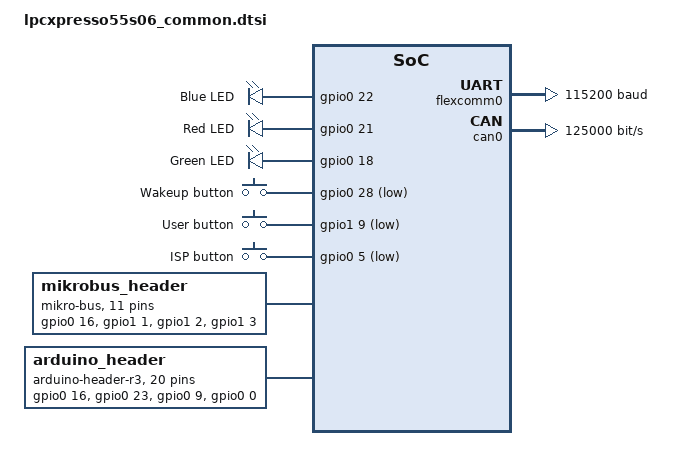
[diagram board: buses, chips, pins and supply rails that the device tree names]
/*
 * Copyright (c) 2022 metraTec
 * Copyright 2022 NXP
 *
 * SPDX-License-Identifier: Apache-2.0
 */

#include "lpcxpresso55s06-pinctrl.dtsi"

/ {
	chosen {
		zephyr,sram = &sram0;
		zephyr,flash = &flash0;
		zephyr,code-partition = &sramx;
		zephyr,console = &flexcomm0;
		zephyr,shell-uart = &flexcomm0;
		zephyr,entropy = &rng;
		zephyr,flash-controller = &iap;
		zephyr,code-partition = &slot0_partition;
		zephyr,canbus = &can0;
	};

	aliases {
		led0 = &blue_led;
		led1 = &red_led;
		led2 = &green_led;
		sw0 = &btn_wk;
		sw1 = &btn_usr;
		sw2 = &btn_isp;
		usart-0 = &flexcomm0;
	};

	leds {
		compatible = "gpio-leds";
		blue_led: led_0 {
			gpios = <&gpio0 22 0>;
			label = "Blue LED";
		};
		red_led: led_1 {
			gpios = <&gpio0 21 0>;
			label = "Red LED";
		};
		green_led: led_2 {
			gpios = <&gpio0 18 0>;
			label = "Green LED";
		};
	};

	gpio_keys {
		compatible = "gpio-keys";
		btn_wk: button_0 {
			label = "Wakeup button";
			gpios = <&gpio0 28 GPIO_ACTIVE_LOW>;
		};
		btn_usr: button_1 {
			label = "User button";
			gpios = <&gpio1 9 GPIO_ACTIVE_LOW>;
		};
		btn_isp: button_2 {
			label = "ISP button";
			gpios = <&gpio0 5 GPIO_ACTIVE_LOW>;
		};
	};

	mikrobus_header: mikrobus-connector {
		compatible = "mikro-bus";
		#gpio-cells = <2>;
		gpio-map-mask = <0xffffffff 0xffffffc0>;
		gpio-map-pass-thru = <0 0x3f>;
		gpio-map =	<0 0 &gpio0 16 0>,	/* AN   */
				/* Not a GPIO */	/* RST  */
				<2 0 &gpio1 1 0>,	/* CS   */
				<3 0 &gpio1 2 0>,	/* SCK  */
				<4 0 &gpio1 3 0>,	/* MISO */
				<5 0 &gpio0 26 0>,	/* MOSI */
							/* +3.3V */
							/* GND  */
				<6 0 &gpio1 5 0>,	/* PWM  */
				<7 0 &gpio0 28 0>,	/* INT  */
				<8 0 &gpio1 10 0>,	/* RX   */
				<9 0 &gpio1 11 0>,	/* TX   */
				<10 0 &gpio0 24 0>,	/* SCL  */
				<11 0 &gpio0 25 0>;	/* SDA  */
							/* +5V  */
							/* GND  */
	};

	arduino_header: arduino-connector {
		compatible = "arduino-header-r3";
		#gpio-cells = <2>;
		gpio-map-mask = <0xffffffff 0xffffffc0>;
		gpio-map-pass-thru = <0 0x3f>;
		gpio-map =	<0 0 &gpio0 16 0>,	/* A0 */
				<1 0 &gpio0 23 0>,	/* A1 */
				<2 0 &gpio0 9 0>,	/* A2 */
				<3 0 &gpio0 0 0>,	/* A3 */
				<4 0 &gpio0 13 0>,	/* A4 */
				<5 0 &gpio0 14 0>,	/* A5 */
				<6 0 &gpio1 10 0>,	/* D0 */
				<7 0 &gpio1 11 0>,	/* D1 */
				<8 0 &gpio0 15 0>,	/* D2 */
				<9 0 &gpio0 23 0>,	/* D3 */
				<10 0 &gpio0 22 0>,	/* D4 */
				<11 0 &gpio0 19 0>,	/* D5 */
				<12 0 &gpio0 18 0>,	/* D6 */
				<13 0 &gpio0 2 0>,	/* D7 */
				<14 0 &gpio0 10 0>,	/* D8 */
				<15 0 &gpio0 25 0>,	/* D9 */
				<16 0 &gpio1 1 0>,	/* D10 */
				<17 0 &gpio0 26 0>,	/* D11 */
				<18 0 &gpio1 3 0>,	/* D12 */
				<19 0 &gpio1 2 0>;	/* D13 */
	};
};

&flash0 {
	/*
	 * LPC flash controller requires minimum 512 byte
	 * write to flash, so MCUBoot is not supported. Just
	 * provide storage and code partition.
	 */
	partitions {
		compatible = "fixed-partitions";
		#address-cells = <1>;
		#size-cells = <1>;
		slot0_partition: partition@0 {
			label = "image-0";
			reg = <0x00000000 DT_SIZE_K(196)>;
		};
		storage_partition: partition@30000 {
			label = "storage";
			reg = <0x00030000 DT_SIZE_K(64)>;
		};
	};
};

&flexcomm0 {
	status = "okay";
	compatible = "nxp,lpc-usart";
	current-speed = <115200>;
	pinctrl-0 = <&pinmux_flexcomm0_usart>;
	pinctrl-names = "default";
};

&can0 {
	status = "okay";
	bus-speed = <125000>;
	bus-speed-data = <1000000>;
	pinctrl-0 = <&pinmux_can0>;
	pinctrl-names = "default";

	can-transceiver {
		max-bitrate = <5000000>;
	};
};
